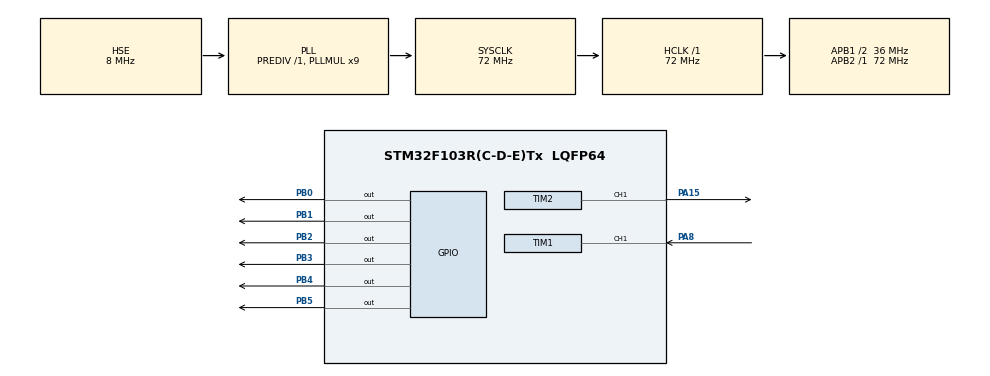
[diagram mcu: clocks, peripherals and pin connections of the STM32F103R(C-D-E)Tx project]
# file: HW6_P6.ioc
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Mcu.Family=STM32F1
Mcu.Name=STM32F103R(C-D-E)Tx
Mcu.Package=LQFP64
NVIC.PriorityGroup=NVIC_PRIORITYGROUP_4
NVIC.TIM1_CC_IRQn=true\:0\:0\:false\:false\:true\:true\:true\:true
NVIC.TIM1_UP_IRQn=true\:0\:0\:false\:false\:true\:true\:true\:true
PA13.Mode=Serial_Wire
PA13.Signal=SYS_JTMS-SWDIO
PA14.Mode=Serial_Wire
PA14.Signal=SYS_JTCK-SWCLK
PA15.Signal=S_TIM2_CH1_ETR
PA8.Signal=S_TIM1_CH1
PB0.Signal=GPIO_Output
PB1.Signal=GPIO_Output
PB2.Signal=GPIO_Output
PB3.Signal=GPIO_Output
PB4.Signal=GPIO_Output
PB5.Signal=GPIO_Output
PD0-OSC_IN.Mode=HSE-External-Oscillator
PD0-OSC_IN.Signal=RCC_OSC_IN
PD1-OSC_OUT.Mode=HSE-External-Oscillator
PD1-OSC_OUT.Signal=RCC_OSC_OUT
ProjectManager.HeapSize=0x200
ProjectManager.StackSize=0x400
ProjectManager.TargetToolchain=MDK-ARM V5.32
RCC.ADCPresc=RCC_ADCPCLK2_DIV6
RCC.AHBFreq_Value=72000000
RCC.APB1CLKDivider=RCC_HCLK_DIV2
RCC.APB1Freq_Value=36000000
RCC.APB1TimFreq_Value=72000000
RCC.APB2Freq_Value=72000000
RCC.APB2TimFreq_Value=72000000
RCC.HCLKFreq_Value=72000000
RCC.PLLMUL=RCC_PLL_MUL9
RCC.PLLSourceVirtual=RCC_PLLSOURCE_HSE
RCC.SYSCLKFreq_VALUE=72000000
RCC.SYSCLKSource=RCC_SYSCLKSOURCE_PLLCLK
RCC.USBFreq_Value=72000000
SH.S_TIM1_CH1.0=TIM1_CH1,Input_Capture1_from_TI1
SH.S_TIM1_CH1.1=TIM1_CH1
SH.S_TIM2_CH1_ETR.0=TIM2_CH1,PWM Generation1 CH1
TIM1.Channel-Input_Capture1_from_TI1=TIM_CHANNEL_1
TIM1.ICFilter_CH1=15
TIM1.Prescaler=71
TIM2.Channel-PWM\ Generation1\ CH1=TIM_CHANNEL_1
TIM2.Period=199
TIM2.Prescaler=71
TIM2.Pulse-PWM\ Generation1\ CH1=40
VP_TIM1_VS_ClockSourceINT.Mode=Internal
VP_TIM2_VS_ClockSourceINT.Mode=Internal
board=custom

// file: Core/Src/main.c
/* USER CODE BEGIN Header */
/**
  ******************************************************************************
  * @file           : main.c
  * @brief          : Main program body
  ******************************************************************************
  * @attention
  *
  * Copyright (c) 2026 STMicroelectronics.
  * All rights reserved.
  *
  * This software is licensed under terms that can be found in the LICENSE file
  * in the root directory of this software component.
  * If no LICENSE file comes with this software, it is provided AS-IS.
  *
  ******************************************************************************
  */
/* USER CODE END Header */
#include "main.h"

/* USER CODE BEGIN Includes */
#include <stdio.h>
#include "lcd.h"
/* USER CODE END Includes */

/* USER CODE BEGIN PD */
#define STATE_WAITING_FOR_RISE1 0
#define STATE_WAITING_FOR_FALL  1
#define STATE_WAITING_FOR_RISE2 2
#define STATE_READY_FOR_CALC    3
/* USER CODE END PD */

TIM_HandleTypeDef htim1;
TIM_HandleTypeDef htim2;

/* USER CODE BEGIN PV */

volatile uint8_t captureState =
STATE_WAITING_FOR_RISE1;

volatile uint16_t TIM1_overFlowCnt = 0;

volatile uint32_t T1 = 0;
volatile uint32_t T2 = 0;
volatile uint32_t T3 = 0;

float frequency = 0.0f;
float duty = 0.0f;
float pulse_width_ms = 0.0f;

char buffer[20];

/* USER CODE END PV */

void SystemClock_Config(void);
static void MX_GPIO_Init(void);
static void MX_TIM2_Init(void);
static void MX_TIM1_Init(void);

/* USER CODE BEGIN 0 */
/* USER CODE BEGIN 0 */

void HAL_TIM_IC_CaptureCallback(
TIM_HandleTypeDef *htim)
{
if(htim->Instance==TIM1)
{
if(captureState==STATE_WAITING_FOR_RISE1)
{
T1=
HAL_TIM_ReadCapturedValue(
htim,
TIM_CHANNEL_1
);

TIM1_overFlowCnt=0;

captureState=
STATE_WAITING_FOR_FALL;

/* switch to falling */
htim->Instance->CCER |= TIM_CCER_CC1P;
}

else if(
captureState==
STATE_WAITING_FOR_FALL)
{
T2=
HAL_TIM_ReadCapturedValue(
htim,
TIM_CHANNEL_1
);

captureState=
STATE_WAITING_FOR_RISE2;

/* switch to rising */
htim->Instance->CCER &=
~TIM_CCER_CC1P;
}

else if(
captureState==
STATE_WAITING_FOR_RISE2)
{
T3=
HAL_TIM_ReadCapturedValue(
htim,
TIM_CHANNEL_1
);

captureState=
STATE_READY_FOR_CALC;
}
}
}

void HAL_TIM_PeriodElapsedCallback(
TIM_HandleTypeDef *htim)
{
if(htim->Instance==TIM1)
{
TIM1_overFlowCnt++;
}
}

/* USER CODE END 0 */

int main(void)
{

  /* USER CODE BEGIN 1 */
	Lcd_PortType ports[] =
{
GPIOB,
GPIOB,
GPIOB,
GPIOB
};

Lcd_PinType pins[] =
{
GPIO_PIN_0,
GPIO_PIN_1,
GPIO_PIN_2,
GPIO_PIN_3
};
  /* USER CODE END 1 */

  /* MCU Configuration--------------------------------------------------------*/

  /* Reset of all peripherals, Initializes the Flash interface and the Systick. */
  HAL_Init();

  /* Configure the system clock */
  SystemClock_Config();

  /* Initialize all configured peripherals */
  MX_GPIO_Init();
  MX_TIM2_Init();
  MX_TIM1_Init();
  /* USER CODE BEGIN 2 */
Lcd_HandleTypeDef lcd;

lcd=
Lcd_create(
ports,
pins,
GPIOB,
GPIO_PIN_4,
GPIOB,
GPIO_PIN_5,
LCD_4_BIT_MODE
);

Lcd_clear(&lcd);

HAL_TIM_PWM_Start(
&htim2,
TIM_CHANNEL_1
);

HAL_TIM_Base_Start_IT(
&htim1
);

HAL_TIM_IC_Start_IT(
&htim1,
TIM_CHANNEL_1
);

  /* USER CODE END 2 */

  /* Infinite loop */
  /* USER CODE BEGIN WHILE */
 /* USER CODE BEGIN WHILE */

while (1)
{
if(captureState==
STATE_READY_FOR_CALC)
{
uint32_t pulse_width_ticks;
uint32_t period_ticks;

if(T2>=T1)
{
pulse_width_ticks=
T2-T1;
}
else
{
pulse_width_ticks=
(65536-T1)+T2;
}

if(T3>=T1)
period_ticks=
T3-
T1;

else
period_ticks=
65535-
T1+
T3;

frequency =
1000000.0f /
period_ticks;

duty=
(
pulse_width_ticks
*
100.0f
)
/
period_ticks;

pulse_width_ms =
pulse_width_ticks *
0.001f;

Lcd_cursor(
&lcd,
0,
0
);

sprintf(
buffer,
"F:%5.0fHz   ",
frequency-25
);

Lcd_string(
&lcd,
buffer
);

Lcd_cursor(
&lcd,
1,
0
);

sprintf(
buffer,
"D:%2.0f PW:%0.3f ",
duty,
pulse_width_ms
);

Lcd_string(
&lcd,
buffer
);

HAL_Delay(
250
);

captureState=
STATE_WAITING_FOR_RISE1;

/* restore rising */
htim1.Instance->CCER &=
~TIM_CCER_CC1P;
}

    /* USER CODE END WHILE */

  }
}

void SystemClock_Config(void)
{
  RCC_OscInitTypeDef RCC_OscInitStruct = {0};
  RCC_ClkInitTypeDef RCC_ClkInitStruct = {0};

  /** Initializes the RCC Oscillators according to the specified parameters
  * in the RCC_OscInitTypeDef structure.
  */
  RCC_OscInitStruct.OscillatorType = RCC_OSCILLATORTYPE_HSE;
  RCC_OscInitStruct.HSEState = RCC_HSE_ON;
  RCC_OscInitStruct.HSEPredivValue = RCC_HSE_PREDIV_DIV1;
  RCC_OscInitStruct.HSIState = RCC_HSI_ON;
  RCC_OscInitStruct.PLL.PLLState = RCC_PLL_ON;
  RCC_OscInitStruct.PLL.PLLSource = RCC_PLLSOURCE_HSE;
  RCC_OscInitStruct.PLL.PLLMUL = RCC_PLL_MUL9;
  if (HAL_RCC_OscConfig(&RCC_OscInitStruct) != HAL_OK)
  {
    Error_Handler();
  }

  /** Initializes the CPU, AHB and APB buses clocks
  */
  RCC_ClkInitStruct.ClockType = RCC_CLOCKTYPE_HCLK|RCC_CLOCKTYPE_SYSCLK
                              |RCC_CLOCKTYPE_PCLK1|RCC_CLOCKTYPE_PCLK2;
  RCC_ClkInitStruct.SYSCLKSource = RCC_SYSCLKSOURCE_PLLCLK;
  RCC_ClkInitStruct.AHBCLKDivider = RCC_SYSCLK_DIV1;
  RCC_ClkInitStruct.APB1CLKDivider = RCC_HCLK_DIV2;
  RCC_ClkInitStruct.APB2CLKDivider = RCC_HCLK_DIV1;

  if (HAL_RCC_ClockConfig(&RCC_ClkInitStruct, FLASH_LATENCY_2) != HAL_OK)
  {
    Error_Handler();
  }
}

static void MX_TIM1_Init(void)
{

  TIM_ClockConfigTypeDef sClockSourceConfig = {0};
  TIM_MasterConfigTypeDef sMasterConfig = {0};
  TIM_IC_InitTypeDef sConfigIC = {0};

  htim1.Instance = TIM1;
  htim1.Init.Prescaler = 71;
  htim1.Init.CounterMode = TIM_COUNTERMODE_UP;
  htim1.Init.Period = 65535;
  htim1.Init.ClockDivision = TIM_CLOCKDIVISION_DIV1;
  htim1.Init.RepetitionCounter = 0;
  htim1.Init.AutoReloadPreload = TIM_AUTORELOAD_PRELOAD_DISABLE;
  if (HAL_TIM_Base_Init(&htim1) != HAL_OK)
  {
    Error_Handler();
  }
  sClockSourceConfig.ClockSource = TIM_CLOCKSOURCE_INTERNAL;
  if (HAL_TIM_ConfigClockSource(&htim1, &sClockSourceConfig) != HAL_OK)
  {
    Error_Handler();
  }
  if (HAL_TIM_IC_Init(&htim1) != HAL_OK)
  {
    Error_Handler();
  }
  sMasterConfig.MasterOutputTrigger = TIM_TRGO_RESET;
  sMasterConfig.MasterSlaveMode = TIM_MASTERSLAVEMODE_DISABLE;
  if (HAL_TIMEx_MasterConfigSynchronization(&htim1, &sMasterConfig) != HAL_OK)
  {
    Error_Handler();
  }
  sConfigIC.ICPolarity = TIM_INPUTCHANNELPOLARITY_RISING;
  sConfigIC.ICSelection = TIM_ICSELECTION_DIRECTTI;
  sConfigIC.ICPrescaler = TIM_ICPSC_DIV1;
  sConfigIC.ICFilter = 15;
  if (HAL_TIM_IC_ConfigChannel(&htim1, &sConfigIC, TIM_CHANNEL_1) != HAL_OK)
  {
    Error_Handler();
  }

}

static void MX_TIM2_Init(void)
{

  TIM_ClockConfigTypeDef sClockSourceConfig = {0};
  TIM_MasterConfigTypeDef sMasterConfig = {0};
  TIM_OC_InitTypeDef sConfigOC = {0};

  htim2.Instance = TIM2;
  htim2.Init.Prescaler = 71;
  htim2.Init.CounterMode = TIM_COUNTERMODE_UP;
  htim2.Init.Period = 199;
  htim2.Init.ClockDivision = TIM_CLOCKDIVISION_DIV1;
  htim2.Init.AutoReloadPreload = TIM_AUTORELOAD_PRELOAD_DISABLE;
  if (HAL_TIM_Base_Init(&htim2) != HAL_OK)
  {
    Error_Handler();
  }
  sClockSourceConfig.ClockSource = TIM_CLOCKSOURCE_INTERNAL;
  if (HAL_TIM_ConfigClockSource(&htim2, &sClockSourceConfig) != HAL_OK)
  {
    Error_Handler();
  }
  if (HAL_TIM_PWM_Init(&htim2) != HAL_OK)
  {
    Error_Handler();
  }
  sMasterConfig.MasterOutputTrigger = TIM_TRGO_RESET;
  sMasterConfig.MasterSlaveMode = TIM_MASTERSLAVEMODE_DISABLE;
  if (HAL_TIMEx_MasterConfigSynchronization(&htim2, &sMasterConfig) != HAL_OK)
  {
    Error_Handler();
  }
  sConfigOC.OCMode = TIM_OCMODE_PWM1;
  sConfigOC.Pulse = 40;
  sConfigOC.OCPolarity = TIM_OCPOLARITY_HIGH;
  sConfigOC.OCFastMode = TIM_OCFAST_DISABLE;
  if (HAL_TIM_PWM_ConfigChannel(&htim2, &sConfigOC, TIM_CHANNEL_1) != HAL_OK)
  {
    Error_Handler();
  }
  HAL_TIM_MspPostInit(&htim2);

}

static void MX_GPIO_Init(void)
{
  GPIO_InitTypeDef GPIO_InitStruct = {0};

  /* GPIO Ports Clock Enable */
  __HAL_RCC_GPIOD_CLK_ENABLE();
  __HAL_RCC_GPIOB_CLK_ENABLE();
  __HAL_RCC_GPIOA_CLK_ENABLE();

  /*Configure GPIO pin Output Level */
  HAL_GPIO_WritePin(GPIOB, GPIO_PIN_0|GPIO_PIN_1|GPIO_PIN_2|GPIO_PIN_3
                          |GPIO_PIN_4|GPIO_PIN_5, GPIO_PIN_RESET);

  /*Configure GPIO pins : PB0 PB1 PB2 PB3
                           PB4 PB5 */
  GPIO_InitStruct.Pin = GPIO_PIN_0|GPIO_PIN_1|GPIO_PIN_2|GPIO_PIN_3
                          |GPIO_PIN_4|GPIO_PIN_5;
  GPIO_InitStruct.Mode = GPIO_MODE_OUTPUT_PP;
  GPIO_InitStruct.Pull = GPIO_NOPULL;
  GPIO_InitStruct.Speed = GPIO_SPEED_FREQ_LOW;
  HAL_GPIO_Init(GPIOB, &GPIO_InitStruct);

}

void Error_Handler(void)
{
  __disable_irq();
  while (1)
  {
  }
}
